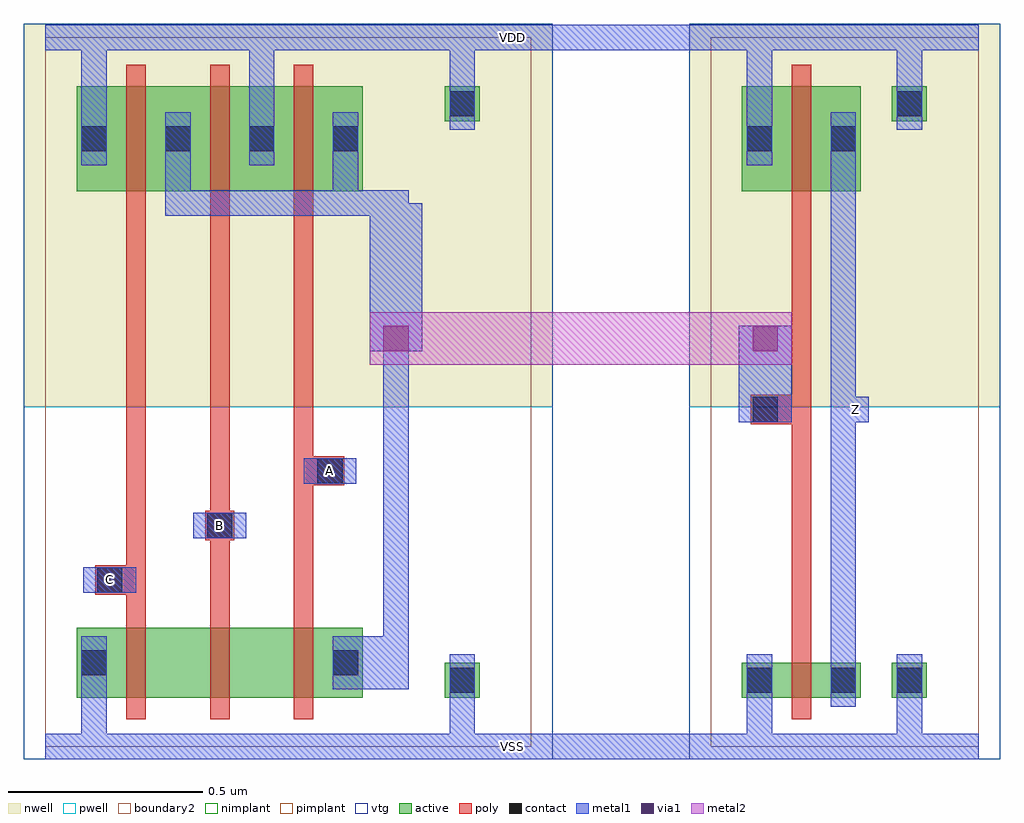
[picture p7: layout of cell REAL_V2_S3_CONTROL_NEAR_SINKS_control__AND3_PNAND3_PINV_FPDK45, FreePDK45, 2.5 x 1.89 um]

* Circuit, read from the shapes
.subckt REAL_V2_S3_CONTROL_NEAR_SINKS_control__AND3_PNAND3_PINV_FPDK45 A B C VDD VSS Z
M1 n1 C VSS VSS nfet w=0.18u l=0.05u
M2 n2 B n1 VSS nfet w=0.18u l=0.05u
M3 n3 A n2 VSS nfet w=0.18u l=0.05u
M4 Z n3 VSS VSS nfet w=0.09u l=0.05u
M5 n3 C VDD VDD pfet w=0.27u l=0.05u
M6 VDD B n3 VDD pfet w=0.27u l=0.05u
M7 n3 A VDD VDD pfet w=0.27u l=0.05u
M8 Z n3 VDD VDD pfet w=0.27u l=0.05u
.ends

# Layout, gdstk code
import gdstk
lib = gdstk.Library(unit=1e-6, precision=5e-10)
def R(c, l, rs):  # rectangles x0, y0, x1, y1
    for r in rs: c.add(gdstk.rectangle(r[:2], r[2:], *l))
def A(c, l, x, y, w, h, nx, ny, dx, dy):  # array of equal rectangles
    R(c, l, [(x+i*dx, y+j*dy, x+i*dx+w, y+j*dy+h) for i in range(nx) for j in range(ny)])
active = (1, 0)
pwell = (2, 0)
nwell = (3, 0)
nimplant = (4, 0)
pimplant = (5, 0)
vtg = (6, 0)
poly = (9, 0)
contact = (10, 0)
metal1 = (11, 0)
via1 = (12, 0)
metal2 = (13, 0)
boundary2 = (239, 0)

real_v2_s3_control_near_ = lib.new_cell('REAL_V2_S3_CONTROL_NEAR_SINKS_control__TEAMB_CLONE__nand3__PNAND3_NW180_PW270_L50_FPDK45__PNAND3_NW180_PW270_L50_FPDK45_contact_8')
R(real_v2_s3_control_near_, active, [(0,0.0225,0.09,0.1125)])
R(real_v2_s3_control_near_, nwell, [(-0.055,-0.0325,0.145,0.1675)])
R(real_v2_s3_control_near_, pimplant, [(0,0.0225,0.09,0.1125)])
R(real_v2_s3_control_near_, contact, [(0.0125,0.035,0.0775,0.1)])
R(real_v2_s3_control_near_, metal1, [(0.0125,0,0.0775,0.135)])
R(real_v2_s3_control_near_, boundary2, [(-0.055,-0.0325,0.145,0.1675)])

c_real_v2_s3_control_near_ = lib.new_cell('REAL_V2_S3_CONTROL_NEAR_SINKS_control__TEAMB_CLONE__nand3__PNAND3_NW180_PW270_L50_FPDK45__PNAND3_NW180_PW270_L50_FPDK45_pmos_m1_w0_270_sm1_dm1')
R(c_real_v2_s3_control_near_, active, [(0,0,0.305,0.27)])
R(c_real_v2_s3_control_near_, nwell, [(-0.08,-0.08,0.385,0.35)])
R(c_real_v2_s3_control_near_, pimplant, [(0,0,0.305,0.27)])
R(c_real_v2_s3_control_near_, vtg, [(-0.08,-0.08,0.385,0.35)])
R(c_real_v2_s3_control_near_, poly, [(0.1275,-0.055,0.1775,0.325), (0.1275,-0.055,0.1775,0.325)])
R(c_real_v2_s3_control_near_, metal1, [(0.0125,0.0675,0.0775,0.2025), (0.2275,0.0675,0.2925,0.2025)])
R(c_real_v2_s3_control_near_, boundary2, [(-0.08,-0.08,0.385,0.35)])
c_real_v2_s3_control_near_.add(gdstk.Reference(real_v2_s3_control_near_, (0,0.0675)))
c_real_v2_s3_control_near_.add(gdstk.Reference(real_v2_s3_control_near_, (0.215,0.0675)))

c_real_v2_s3_control_near__ = lib.new_cell('REAL_V2_S3_CONTROL_NEAR_SINKS_control__TEAMB_CLONE__nand3__PNAND3_NW180_PW270_L50_FPDK45__PNAND3_NW180_PW270_L50_FPDK45_contact_7')
R(c_real_v2_s3_control_near__, active, [(0,0.0225,0.09,0.1125)])
R(c_real_v2_s3_control_near__, pwell, [(-0.055,-0.0325,0.145,0.1675)])
R(c_real_v2_s3_control_near__, nimplant, [(0,0.0225,0.09,0.1125)])
R(c_real_v2_s3_control_near__, contact, [(0.0125,0.035,0.0775,0.1)])
R(c_real_v2_s3_control_near__, metal1, [(0.0125,0,0.0775,0.135)])
R(c_real_v2_s3_control_near__, boundary2, [(-0.055,-0.0325,0.145,0.1675)])

c_real_v2_s3_control_near___ = lib.new_cell('REAL_V2_S3_CONTROL_NEAR_SINKS_control__TEAMB_CLONE__nand3__PNAND3_NW180_PW270_L50_FPDK45__PNAND3_NW180_PW270_L50_FPDK45_nmos_m1_w0_180_sm1_dactive')
R(c_real_v2_s3_control_near___, active, [(0,0,0.305,0.18), (0.215,0.045,0.305,0.135)])
R(c_real_v2_s3_control_near___, pwell, [(-0.08,-0.08,0.385,0.26)])
R(c_real_v2_s3_control_near___, nimplant, [(0,0,0.305,0.18)])
R(c_real_v2_s3_control_near___, vtg, [(-0.08,-0.08,0.385,0.26)])
R(c_real_v2_s3_control_near___, poly, [(0.1275,-0.055,0.1775,0.235), (0.1275,-0.055,0.1775,0.235)])
R(c_real_v2_s3_control_near___, metal1, [(0.0125,0.0225,0.0775,0.1575)])
R(c_real_v2_s3_control_near___, boundary2, [(-0.08,-0.08,0.385,0.26)])
c_real_v2_s3_control_near___.add(gdstk.Reference(c_real_v2_s3_control_near__, (0,0.0225)))

c_real_v2_s3_control_near____ = lib.new_cell('REAL_V2_S3_CONTROL_NEAR_SINKS_control__TEAMB_CLONE__nand3__PNAND3_NW180_PW270_L50_FPDK45__PNAND3_NW180_PW270_L50_FPDK45_nmos_m1_w0_180_sactive_dactive')
R(c_real_v2_s3_control_near____, active, [(0,0,0.305,0.18), (0,0.045,0.09,0.135), (0.215,0.045,0.305,0.135)])
R(c_real_v2_s3_control_near____, pwell, [(-0.08,-0.08,0.385,0.26)])
R(c_real_v2_s3_control_near____, nimplant, [(0,0,0.305,0.18)])
R(c_real_v2_s3_control_near____, vtg, [(-0.08,-0.08,0.385,0.26)])
R(c_real_v2_s3_control_near____, poly, [(0.1275,-0.055,0.1775,0.235), (0.1275,-0.055,0.1775,0.235)])
R(c_real_v2_s3_control_near____, boundary2, [(-0.08,-0.08,0.385,0.26)])

c_real_v2_s3_control_near_____ = lib.new_cell('REAL_V2_S3_CONTROL_NEAR_SINKS_control__TEAMB_CLONE__nand3__PNAND3_NW180_PW270_L50_FPDK45__PNAND3_NW180_PW270_L50_FPDK45_nmos_m1_w0_180_sactive_dm1')
R(c_real_v2_s3_control_near_____, active, [(0,0,0.305,0.18), (0,0.045,0.09,0.135)])
R(c_real_v2_s3_control_near_____, pwell, [(-0.08,-0.08,0.385,0.26)])
R(c_real_v2_s3_control_near_____, nimplant, [(0,0,0.305,0.18)])
R(c_real_v2_s3_control_near_____, vtg, [(-0.08,-0.08,0.385,0.26)])
R(c_real_v2_s3_control_near_____, poly, [(0.1275,-0.055,0.1775,0.235), (0.1275,-0.055,0.1775,0.235)])
R(c_real_v2_s3_control_near_____, metal1, [(0.2275,0.0225,0.2925,0.1575)])
R(c_real_v2_s3_control_near_____, boundary2, [(-0.08,-0.08,0.385,0.26)])
c_real_v2_s3_control_near_____.add(gdstk.Reference(c_real_v2_s3_control_near__, (0.215,0.0225)))

c_real_v2_s3_control_near______ = lib.new_cell('REAL_V2_S3_CONTROL_NEAR_SINKS_control__TEAMB_CLONE__nand3__PNAND3_NW180_PW270_L50_FPDK45__PNAND3_NW180_PW270_L50_FPDK45_contact_9')
R(c_real_v2_s3_control_near______, active, [(0,0.0225,0.09,0.1125)])
R(c_real_v2_s3_control_near______, nwell, [(-0.055,-0.0325,0.145,0.1675)])
R(c_real_v2_s3_control_near______, nimplant, [(0,0.0225,0.09,0.1125)])
R(c_real_v2_s3_control_near______, contact, [(0.0125,0.035,0.0775,0.1)])
R(c_real_v2_s3_control_near______, metal1, [(0.0125,0,0.0775,0.135)])
R(c_real_v2_s3_control_near______, boundary2, [(-0.055,-0.0325,0.145,0.1675)])

c_real_v2_s3_control_near_______ = lib.new_cell('REAL_V2_S3_CONTROL_NEAR_SINKS_control__TEAMB_CLONE__nand3__PNAND3_NW180_PW270_L50_FPDK45__PNAND3_NW180_PW270_L50_FPDK45_contact_10')
R(c_real_v2_s3_control_near_______, active, [(0,0.0225,0.09,0.1125)])
R(c_real_v2_s3_control_near_______, pwell, [(-0.055,-0.0325,0.145,0.1675)])
R(c_real_v2_s3_control_near_______, pimplant, [(0,0.0225,0.09,0.1125)])
R(c_real_v2_s3_control_near_______, contact, [(0.0125,0.035,0.0775,0.1)])
R(c_real_v2_s3_control_near_______, metal1, [(0.0125,0,0.0775,0.135)])
R(c_real_v2_s3_control_near_______, boundary2, [(-0.055,-0.0325,0.145,0.1675)])

c_real_v2_s3_control_near________ = lib.new_cell('REAL_V2_S3_CONTROL_NEAR_SINKS_control__TEAMB_CLONE__nand3__PNAND3_NW180_PW270_L50_FPDK45__PNAND3_NW180_PW270_L50_FPDK45_contact_11')
R(c_real_v2_s3_control_near________, poly, [(0.03,0,0.105,0.075)])
R(c_real_v2_s3_control_near________, contact, [(0.035,0.005,0.1,0.07)])
R(c_real_v2_s3_control_near________, metal1, [(0,0.005,0.135,0.07)])
R(c_real_v2_s3_control_near________, boundary2, [(0,0,0.135,0.075)])

c_real_v2_s3_control_near_________ = lib.new_cell('REAL_V2_S3_CONTROL_NEAR_SINKS_control__TEAMB_CLONE__nand3__PNAND3_NW180_PW270_L50_FPDK45__PNAND3_NW180_PW270_L50_FPDK45_pnand3')
R(c_real_v2_s3_control_near_________, pwell, [(-0.055,-0.0325,1.3025,0.8725)])
R(c_real_v2_s3_control_near_________, nwell, [(-0.055,0.8725,1.3025,1.855)])
R(c_real_v2_s3_control_near_________, vtg, [(-0.055,-0.0325,1.3025,0.8725), (-0.055,0.8725,1.3025,1.855)])
A(c_real_v2_s3_control_near_________, poly, 0.2075, 0.36, 0.05, 1.01, 3, 1, 0.215, 0)
R(c_real_v2_s3_control_near_________, poly, [(0.165,0.39,0.2075,0.465), (0.4225,0.53,0.4475,0.605), (0.6375,0.67,0.73,0.745)])
R(c_real_v2_s3_control_near_________, metal1, [(0,-0.0325,1.2475,0.0325), (0.0925,-0.0325,0.1575,0.1475), (1.0375,0,1.1025,0.17), (0.77,0.1475,0.9,0.2825), (0.8675,0.1475,0.9325,1.395), (0.0975,0.395,0.2325,0.46), (0.38,0.535,0.515,0.6), (0.6625,0.675,0.7975,0.74), (0.3075,1.3625,0.3725,1.4275), (0.34,1.3625,0.9,1.4275), (0.7375,1.3625,0.8025,1.4275), (0.77,1.3625,0.9,1.4275), (0.8675,1.3625,0.9325,1.4275), (0.3075,1.395,0.3725,1.56), (0.7375,1.395,0.8025,1.56), (0.0925,1.4925,0.1575,1.8525), (0.5225,1.4925,0.5875,1.8525), (1.0375,1.65,1.1025,1.82), (0,1.7875,1.2475,1.8525)])
R(c_real_v2_s3_control_near_________, boundary2, [(0,0,1.2475,1.82), (0,0,1.2475,1.82)])
c_real_v2_s3_control_near_________.add(gdstk.Reference(c_real_v2_s3_control_near_, (0.08,1.425)))
c_real_v2_s3_control_near_________.add(gdstk.Reference(c_real_v2_s3_control_near_, (0.295,1.425)))
c_real_v2_s3_control_near_________.add(gdstk.Reference(c_real_v2_s3_control_near_, (0.51,1.425)))
c_real_v2_s3_control_near_________.add(gdstk.Reference(c_real_v2_s3_control_near___, (0.08,0.125)))
c_real_v2_s3_control_near_________.add(gdstk.Reference(c_real_v2_s3_control_near____, (0.295,0.125)))
c_real_v2_s3_control_near_________.add(gdstk.Reference(c_real_v2_s3_control_near_____, (0.51,0.125)))
c_real_v2_s3_control_near_________.add(gdstk.Reference(c_real_v2_s3_control_near______, (1.025,1.5825)))
c_real_v2_s3_control_near_________.add(gdstk.Reference(c_real_v2_s3_control_near_______, (1.025,0.1025)))
c_real_v2_s3_control_near_________.add(gdstk.Reference(c_real_v2_s3_control_near________, (0.0975,0.39)))
c_real_v2_s3_control_near_________.add(gdstk.Reference(c_real_v2_s3_control_near________, (0.38,0.53)))
c_real_v2_s3_control_near_________.add(gdstk.Reference(c_real_v2_s3_control_near________, (0.6625,0.67)))

c_real_v2_s3_control_near__________ = lib.new_cell('REAL_V2_S3_CONTROL_NEAR_SINKS_control__TEAMB_CLONE__nand3__PNAND3_NW180_PW270_L50_FPDK45__PNAND3_NW180_PW270_L50_FPDK45')
R(c_real_v2_s3_control_near__________, metal1, [(0,-0.0325,1.2475,0.0325), (0.0975,0.395,0.2325,0.46), (0.38,0.535,0.515,0.6), (0.6625,0.675,0.7975,0.74), (0.8675,1.3625,0.9325,1.4275), (0,1.7875,1.2475,1.8525)])
R(c_real_v2_s3_control_near__________, boundary2, [(0,0,1.2475,1.82)])
c_real_v2_s3_control_near__________.add(gdstk.Reference(c_real_v2_s3_control_near_________, (0,0)))

c_real_v2_s3_control_near___________ = lib.new_cell('REAL_V2_S3_CONTROL_NEAR_SINKS_control__TEAMB_CLONE__inv__PINV_NW90_PW270_L50__TRANSMISSION_GATE_NW250_PW500_L50_contact_8')
R(c_real_v2_s3_control_near___________, active, [(0,0.0225,0.09,0.1125), (0,0.0225,0.09,0.1125)])
R(c_real_v2_s3_control_near___________, nwell, [(-0.055,-0.0325,0.145,0.1675), (-0.055,-0.0325,0.145,0.1675)])
R(c_real_v2_s3_control_near___________, pimplant, [(0,0.0225,0.09,0.1125), (0,0.0225,0.09,0.1125)])
R(c_real_v2_s3_control_near___________, contact, [(0.0125,0.035,0.0775,0.1), (0.0125,0.035,0.0775,0.1)])
R(c_real_v2_s3_control_near___________, metal1, [(0.0125,0,0.0775,0.135), (0.0125,0,0.0775,0.135)])
R(c_real_v2_s3_control_near___________, boundary2, [(-0.055,-0.0325,0.145,0.1675), (-0.055,-0.0325,0.145,0.1675)])

c_real_v2_s3_control_near____________ = lib.new_cell('REAL_V2_S3_CONTROL_NEAR_SINKS_control__TEAMB_CLONE__inv__PINV_NW90_PW270_L50__PINV_NW180_PW270_L50_pmos_m1_w0_270_sm1_dm1_da_p')
R(c_real_v2_s3_control_near____________, active, [(0,0,0.305,0.27), (0,0,0.305,0.27)])
R(c_real_v2_s3_control_near____________, nwell, [(-0.08,-0.08,0.385,0.35), (-0.08,-0.08,0.385,0.35)])
R(c_real_v2_s3_control_near____________, pimplant, [(0,0,0.305,0.27), (0,0,0.305,0.27)])
R(c_real_v2_s3_control_near____________, vtg, [(-0.08,-0.08,0.385,0.35), (-0.08,-0.08,0.385,0.35)])
R(c_real_v2_s3_control_near____________, poly, [(0.1275,-0.055,0.1775,0.325), (0.1275,-0.055,0.1775,0.325), (0.1275,-0.055,0.1775,0.325), (0.1275,-0.055,0.1775,0.325)])
R(c_real_v2_s3_control_near____________, metal1, [(0.0125,0.0675,0.0775,0.2025), (0.0125,0.0675,0.0775,0.2025), (0.2275,0.0675,0.2925,0.2025), (0.2275,0.0675,0.2925,0.2025)])
R(c_real_v2_s3_control_near____________, boundary2, [(-0.08,-0.08,0.385,0.35), (-0.08,-0.08,0.385,0.35)])
c_real_v2_s3_control_near____________.add(gdstk.Reference(c_real_v2_s3_control_near___________, (0,0.0675)))
c_real_v2_s3_control_near____________.add(gdstk.Reference(c_real_v2_s3_control_near___________, (0.215,0.0675)))

c_real_v2_s3_control_near_____________ = lib.new_cell('REAL_V2_S3_CONTROL_NEAR_SINKS_control__TEAMB_CLONE__inv__PINV_NW90_PW270_L50__TRANSMISSION_GATE_NW250_PW500_L50_contact_7')
R(c_real_v2_s3_control_near_____________, active, [(0,0.0225,0.09,0.1125), (0,0.0225,0.09,0.1125)])
R(c_real_v2_s3_control_near_____________, pwell, [(-0.055,-0.0325,0.145,0.1675), (-0.055,-0.0325,0.145,0.1675)])
R(c_real_v2_s3_control_near_____________, nimplant, [(0,0.0225,0.09,0.1125), (0,0.0225,0.09,0.1125)])
R(c_real_v2_s3_control_near_____________, contact, [(0.0125,0.035,0.0775,0.1), (0.0125,0.035,0.0775,0.1)])
R(c_real_v2_s3_control_near_____________, metal1, [(0.0125,0,0.0775,0.135), (0.0125,0,0.0775,0.135)])
R(c_real_v2_s3_control_near_____________, boundary2, [(-0.055,-0.0325,0.145,0.1675), (-0.055,-0.0325,0.145,0.1675)])

c_real_v2_s3_control_near______________ = lib.new_cell('REAL_V2_S3_CONTROL_NEAR_SINKS_control__TEAMB_CLONE__inv__PINV_NW90_PW270_L50__PINV_NW90_PW270_L50_nmos_m1_w0_090_sm1_dm1_da_p')
R(c_real_v2_s3_control_near______________, active, [(0,0,0.305,0.09), (0,0,0.305,0.09)])
R(c_real_v2_s3_control_near______________, pwell, [(-0.08,-0.08,0.385,0.17), (-0.08,-0.08,0.385,0.17)])
R(c_real_v2_s3_control_near______________, nimplant, [(0,0,0.305,0.09), (0,0,0.305,0.09)])
R(c_real_v2_s3_control_near______________, vtg, [(-0.08,-0.08,0.385,0.17), (-0.08,-0.08,0.385,0.17)])
R(c_real_v2_s3_control_near______________, poly, [(0.1275,-0.055,0.1775,0.145), (0.1275,-0.055,0.1775,0.145), (0.1275,-0.055,0.1775,0.145), (0.1275,-0.055,0.1775,0.145)])
R(c_real_v2_s3_control_near______________, metal1, [(0.0125,-0.0225,0.0775,0.1125), (0.0125,-0.0225,0.0775,0.1125), (0.2275,-0.0225,0.2925,0.1125), (0.2275,-0.0225,0.2925,0.1125)])
R(c_real_v2_s3_control_near______________, boundary2, [(-0.08,-0.08,0.385,0.17), (-0.08,-0.08,0.385,0.17)])
c_real_v2_s3_control_near______________.add(gdstk.Reference(c_real_v2_s3_control_near_____________, (0,-0.0225)))
c_real_v2_s3_control_near______________.add(gdstk.Reference(c_real_v2_s3_control_near_____________, (0.215,-0.0225)))

c_real_v2_s3_control_near_______________ = lib.new_cell('REAL_V2_S3_CONTROL_NEAR_SINKS_control__TEAMB_CLONE__inv__PINV_NW90_PW270_L50__TRANSMISSION_GATE_NW250_PW500_L50_contact_9')
R(c_real_v2_s3_control_near_______________, active, [(0,0.0225,0.09,0.1125), (0,0.0225,0.09,0.1125)])
R(c_real_v2_s3_control_near_______________, nwell, [(-0.055,-0.0325,0.145,0.1675), (-0.055,-0.0325,0.145,0.1675)])
R(c_real_v2_s3_control_near_______________, nimplant, [(0,0.0225,0.09,0.1125), (0,0.0225,0.09,0.1125)])
R(c_real_v2_s3_control_near_______________, contact, [(0.0125,0.035,0.0775,0.1), (0.0125,0.035,0.0775,0.1)])
R(c_real_v2_s3_control_near_______________, metal1, [(0.0125,0,0.0775,0.135), (0.0125,0,0.0775,0.135)])
R(c_real_v2_s3_control_near_______________, boundary2, [(-0.055,-0.0325,0.145,0.1675), (-0.055,-0.0325,0.145,0.1675)])

c_real_v2_s3_control_near________________ = lib.new_cell('REAL_V2_S3_CONTROL_NEAR_SINKS_control__TEAMB_CLONE__inv__PINV_NW90_PW270_L50__TRANSMISSION_GATE_NW250_PW500_L50_contact_10')
R(c_real_v2_s3_control_near________________, active, [(0,0.0225,0.09,0.1125), (0,0.0225,0.09,0.1125)])
R(c_real_v2_s3_control_near________________, pwell, [(-0.055,-0.0325,0.145,0.1675), (-0.055,-0.0325,0.145,0.1675)])
R(c_real_v2_s3_control_near________________, pimplant, [(0,0.0225,0.09,0.1125), (0,0.0225,0.09,0.1125)])
R(c_real_v2_s3_control_near________________, contact, [(0.0125,0.035,0.0775,0.1), (0.0125,0.035,0.0775,0.1)])
R(c_real_v2_s3_control_near________________, metal1, [(0.0125,0,0.0775,0.135), (0.0125,0,0.0775,0.135)])
R(c_real_v2_s3_control_near________________, boundary2, [(-0.055,-0.0325,0.145,0.1675), (-0.055,-0.0325,0.145,0.1675)])

c_real_v2_s3_control_near_________________ = lib.new_cell('REAL_V2_S3_CONTROL_NEAR_SINKS_control__TEAMB_CLONE__inv__PINV_NW90_PW270_L50__PINV_NW180_PW270_L50_contact_11')
R(c_real_v2_s3_control_near_________________, poly, [(0.03,0,0.105,0.075), (0.03,0,0.105,0.075)])
R(c_real_v2_s3_control_near_________________, contact, [(0.035,0.005,0.1,0.07), (0.035,0.005,0.1,0.07)])
R(c_real_v2_s3_control_near_________________, metal1, [(0,0.005,0.135,0.07), (0,0.005,0.135,0.07)])
R(c_real_v2_s3_control_near_________________, boundary2, [(0,0,0.135,0.075), (0,0,0.135,0.075)])

c_real_v2_s3_control_near__________________ = lib.new_cell('REAL_V2_S3_CONTROL_NEAR_SINKS_control__TEAMB_CLONE__inv__PINV_NW90_PW270_L50__PINV_NW90_PW270_L50_core')
R(c_real_v2_s3_control_near__________________, pwell, [(-0.055,-0.0325,0.7425,0.8725), (-0.055,-0.0325,0.7425,0.8725)])
R(c_real_v2_s3_control_near__________________, nwell, [(-0.055,0.8725,0.7425,1.855), (-0.055,0.8725,0.7425,1.855)])
R(c_real_v2_s3_control_near__________________, vtg, [(-0.055,-0.0325,0.7425,0.8725), (-0.055,-0.0325,0.7425,0.8725), (-0.055,0.8725,0.7425,1.855), (-0.055,0.8725,0.7425,1.855)])
R(c_real_v2_s3_control_near__________________, poly, [(0.2075,0.27,0.2575,1.37), (0.2075,0.27,0.2575,1.37), (0.14,0.8275,0.2075,0.9025), (0.14,0.8275,0.2075,0.9025)])
R(c_real_v2_s3_control_near__________________, metal1, [(0,-0.0325,0.6875,0.0325), (0,-0.0325,0.6875,0.0325), (0.0925,-0.0325,0.1575,0.1025), (0.0925,-0.0325,0.1575,0.1025), (0.4775,0,0.5425,0.17), (0.4775,0,0.5425,0.17), (0.3075,0.1025,0.3725,1.6275), (0.3075,0.1025,0.3725,1.6275), (0.0725,0.8325,0.2075,0.8975), (0.0725,0.8325,0.2075,0.8975), (0.34,0.8325,0.405,0.8975), (0.34,0.8325,0.405,0.8975), (0.0925,1.4925,0.1575,1.8525), (0.0925,1.4925,0.1575,1.8525), (0.4775,1.65,0.5425,1.82), (0.4775,1.65,0.5425,1.82), (0,1.7875,0.6875,1.8525), (0,1.7875,0.6875,1.8525)])
R(c_real_v2_s3_control_near__________________, boundary2, [(0,0,0.6875,1.82), (0,0,0.6875,1.82), (0,0,0.6875,1.82), (0,0,0.6875,1.82)])
c_real_v2_s3_control_near__________________.add(gdstk.Reference(c_real_v2_s3_control_near____________, (0.08,1.425)))
c_real_v2_s3_control_near__________________.add(gdstk.Reference(c_real_v2_s3_control_near______________, (0.08,0.125)))
c_real_v2_s3_control_near__________________.add(gdstk.Reference(c_real_v2_s3_control_near_______________, (0.465,1.5825)))
c_real_v2_s3_control_near__________________.add(gdstk.Reference(c_real_v2_s3_control_near________________, (0.465,0.1025)))
c_real_v2_s3_control_near__________________.add(gdstk.Reference(c_real_v2_s3_control_near_________________, (0.0725,0.8275)))

c_real_v2_s3_control_near___________________ = lib.new_cell('REAL_V2_S3_CONTROL_NEAR_SINKS_control__TEAMB_CLONE__inv__PINV_NW90_PW270_L50__PINV_NW90_PW270_L50')
R(c_real_v2_s3_control_near___________________, metal1, [(0,-0.0325,0.6875,0.0325), (0,-0.0325,0.6875,0.0325), (0.0725,0.8325,0.2075,0.8975), (0.0725,0.8325,0.2075,0.8975), (0.34,0.8325,0.405,0.8975), (0.34,0.8325,0.405,0.8975), (0,1.7875,0.6875,1.8525), (0,1.7875,0.6875,1.8525)])
R(c_real_v2_s3_control_near___________________, boundary2, [(0,0,0.6875,1.82), (0,0,0.6875,1.82)])
c_real_v2_s3_control_near___________________.add(gdstk.Reference(c_real_v2_s3_control_near__________________, (0,0)))

c_real_v2_s3_control_near____________________ = lib.new_cell('REAL_V2_S3_CONTROL_NEAR_SINKS_control__AND3_PNAND3_PINV_FPDK45')
R(c_real_v2_s3_control_near____________________, metal1, [(0.055,0,2.45,0.065), (1.835,0.8975,1.97,1.1125), (0.8875,1.0475,1.0225,1.4275), (0.055,1.82,2.45,1.885)])
R(c_real_v2_s3_control_near____________________, via1, [(0.9225,1.0475,0.9875,1.1125), (1.87,1.0475,1.935,1.1125)])
R(c_real_v2_s3_control_near____________________, metal2, [(0.8875,1.0125,1.0225,1.1475), (0.955,1.0125,1.9025,1.1475), (1.835,1.0125,1.97,1.1475)])
c_real_v2_s3_control_near____________________.add(gdstk.Reference(c_real_v2_s3_control_near__________, (0.055,0.0325)))
c_real_v2_s3_control_near____________________.add(gdstk.Reference(c_real_v2_s3_control_near___________________, (1.7625,0.0325)))
c_real_v2_s3_control_near____________________.add(gdstk.Label('VDD', (1.2525,1.8525), layer=11, texttype=2))
c_real_v2_s3_control_near____________________.add(gdstk.Label('VSS', (1.2525,0.0325), layer=11, texttype=2))
c_real_v2_s3_control_near____________________.add(gdstk.Label('A', (0.785,0.74), layer=11, texttype=2))
c_real_v2_s3_control_near____________________.add(gdstk.Label('B', (0.5025,0.6), layer=11, texttype=2))
c_real_v2_s3_control_near____________________.add(gdstk.Label('C', (0.22,0.46), layer=11, texttype=2))
c_real_v2_s3_control_near____________________.add(gdstk.Label('Z', (2.135,0.8975), layer=11, texttype=2))

lib.write_gds('REAL_V2_S3_CONTROL_NEAR_SINKS_control__AND3_PNAND3_PINV_FPDK45.gds')
